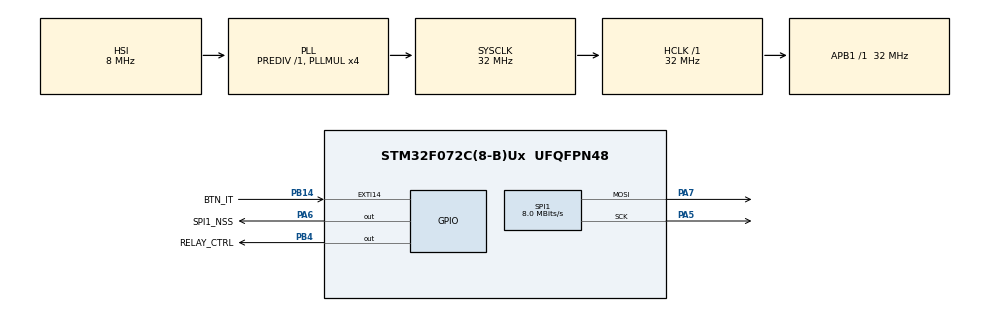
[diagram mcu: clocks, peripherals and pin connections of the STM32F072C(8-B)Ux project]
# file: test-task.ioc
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Mcu.Family=STM32F0
Mcu.Name=STM32F072C(8-B)Ux
Mcu.Package=UFQFPN48
NVIC.EXTI4_15_IRQn=true\:0\:0\:false\:false\:true\:true\:true\:true
NVIC.TIM6_DAC_IRQn=true\:0\:0\:false\:false\:true\:true\:true\:true
PA13.Mode=Serial_Wire
PA13.Signal=SYS_SWDIO
PA14.Mode=Serial_Wire
PA14.Signal=SYS_SWCLK
PA5.Mode=TX_Only_Simplex_Unidirect_Master
PA5.Signal=SPI1_SCK
PA6.GPIO_Label=SPI1_NSS
PA6.Signal=GPIO_Output
PA7.Mode=TX_Only_Simplex_Unidirect_Master
PA7.Signal=SPI1_MOSI
PB14.GPIO_Label=BTN_IT
PB14.GPIO_ModeDefaultEXTI=GPIO_MODE_IT_FALLING
PB14.GPIO_PuPd=GPIO_PULLUP
PB14.Signal=GPXTI14
PB4.GPIO_Label=RELAY_CTRL
PB4.Signal=GPIO_Output
PF0-OSC_IN.Mode=HSE-External-Oscillator
PF0-OSC_IN.Signal=RCC_OSC_IN
PF1-OSC_OUT.Mode=HSE-External-Oscillator
PF1-OSC_OUT.Signal=RCC_OSC_OUT
ProjectManager.HeapSize=0x200
ProjectManager.StackSize=0x400
ProjectManager.TargetToolchain=CMake
RCC.AHBFreq_Value=32000000
RCC.APB1Freq_Value=32000000
RCC.APB1TimFreq_Value=32000000
RCC.HCLKFreq_Value=32000000
RCC.PLLMUL=RCC_PLL_MUL4
RCC.SYSCLKFreq_VALUE=32000000
RCC.SYSCLKSource=RCC_SYSCLKSOURCE_PLLCLK
SPI1.BaudRatePrescaler=SPI_BAUDRATEPRESCALER_4
SPI1.CalculateBaudRate=8.0 MBits/s
SPI1.DataSize=SPI_DATASIZE_8BIT
SPI1.Direction=SPI_DIRECTION_2LINES
SPI1.Mode=SPI_MODE_MASTER
SPI1.VirtualType=VM_MASTER
TIM6.AutoReloadPreload=TIM_AUTORELOAD_PRELOAD_ENABLE
TIM6.Period=999
TIM6.Prescaler=31999
VP_TIM6_VS_ClockSourceINT.Mode=Enable_Timer
board=custom

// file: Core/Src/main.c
/* USER CODE BEGIN Header */
/**
 ******************************************************************************
 * @file           : main.c
 * @brief          : Main program body
 ******************************************************************************
 * @attention
 *
 * Copyright (c) 2025 STMicroelectronics.
 * All rights reserved.
 *
 * This software is licensed under terms that can be found in the LICENSE file
 * in the root directory of this software component.
 * If no LICENSE file comes with this software, it is provided AS-IS.
 *
 ******************************************************************************
 */
/* USER CODE END Header */
#include "main.h"

/* USER CODE BEGIN Includes */
#include "max_6950.h"
#include "stdbool.h"

/* USER CODE END Includes */

SPI_HandleTypeDef hspi1;

TIM_HandleTypeDef htim6;

/* USER CODE BEGIN PV */

uint8_t timer_count = 60;

bool display_update_required = false;
bool relay_activation_required = false;
bool is_timer_active = false;
bool is_relay_active = false;

/* USER CODE END PV */

void SystemClock_Config(void);
static void MX_GPIO_Init(void);
static void MX_SPI1_Init(void);
static void MX_TIM6_Init(void);
/* USER CODE BEGIN PFP */
void open_relay();
void close_relay();
void set_timer(uint8_t timer_value);
void update_display();
/* USER CODE END PFP */

int main(void) {

  /* MCU Configuration--------------------------------------------------------*/

  /* Reset of all peripherals, Initializes the Flash interface and the Systick.
   */
  HAL_Init();

  /* Configure the system clock */
  SystemClock_Config();

  /* Initialize all configured peripherals */
  MX_GPIO_Init();
  MX_SPI1_Init();
  MX_TIM6_Init();
  /* USER CODE BEGIN 2 */
  MAX6950_Init();
  bool relay_activation_required = true;

  /* USER CODE END 2 */
  uint32_t relay_start_time = 0;

  /* Infinite loop */
  /* USER CODE BEGIN WHILE */
  while (1) {

    if (relay_activation_required) {
      open_relay();
      is_relay_active = true;
      relay_start_time = HAL_GetTick();
      relay_activation_required = false;
    }

    if (is_relay_active) {
      if (HAL_GetTick() - relay_start_time >= RELAY_OPEN_TIME_MS) {
        close_relay();
        is_relay_active = false;
        set_timer(60);
      }
    }

    if (display_update_required) {
      update_display();
    }
  }
  /* USER CODE END 3 */
}

void SystemClock_Config(void) {
  RCC_OscInitTypeDef RCC_OscInitStruct = {0};
  RCC_ClkInitTypeDef RCC_ClkInitStruct = {0};

  /** Initializes the RCC Oscillators according to the specified parameters
   * in the RCC_OscInitTypeDef structure.
   */
  RCC_OscInitStruct.OscillatorType = RCC_OSCILLATORTYPE_HSI;
  RCC_OscInitStruct.HSIState = RCC_HSI_ON;
  RCC_OscInitStruct.HSICalibrationValue = RCC_HSICALIBRATION_DEFAULT;
  RCC_OscInitStruct.PLL.PLLState = RCC_PLL_ON;
  RCC_OscInitStruct.PLL.PLLSource = RCC_PLLSOURCE_HSI;
  RCC_OscInitStruct.PLL.PLLMUL = RCC_PLL_MUL4;
  RCC_OscInitStruct.PLL.PREDIV = RCC_PREDIV_DIV1;
  if (HAL_RCC_OscConfig(&RCC_OscInitStruct) != HAL_OK) {
    Error_Handler();
  }

  /** Initializes the CPU, AHB and APB buses clocks
   */
  RCC_ClkInitStruct.ClockType =
      RCC_CLOCKTYPE_HCLK | RCC_CLOCKTYPE_SYSCLK | RCC_CLOCKTYPE_PCLK1;
  RCC_ClkInitStruct.SYSCLKSource = RCC_SYSCLKSOURCE_PLLCLK;
  RCC_ClkInitStruct.AHBCLKDivider = RCC_SYSCLK_DIV1;
  RCC_ClkInitStruct.APB1CLKDivider = RCC_HCLK_DIV1;

  if (HAL_RCC_ClockConfig(&RCC_ClkInitStruct, FLASH_LATENCY_1) != HAL_OK) {
    Error_Handler();
  }
}

static void MX_SPI1_Init(void) {

  /* SPI1 parameter configuration*/
  hspi1.Instance = SPI1;
  hspi1.Init.Mode = SPI_MODE_MASTER;
  hspi1.Init.Direction = SPI_DIRECTION_2LINES;
  hspi1.Init.DataSize = SPI_DATASIZE_8BIT;
  hspi1.Init.CLKPolarity = SPI_POLARITY_LOW;
  hspi1.Init.CLKPhase = SPI_PHASE_1EDGE;
  hspi1.Init.NSS = SPI_NSS_SOFT;
  hspi1.Init.BaudRatePrescaler = SPI_BAUDRATEPRESCALER_4;
  hspi1.Init.FirstBit = SPI_FIRSTBIT_MSB;
  hspi1.Init.TIMode = SPI_TIMODE_DISABLE;
  hspi1.Init.CRCCalculation = SPI_CRCCALCULATION_DISABLE;
  hspi1.Init.CRCPolynomial = 7;
  hspi1.Init.CRCLength = SPI_CRC_LENGTH_DATASIZE;
  hspi1.Init.NSSPMode = SPI_NSS_PULSE_ENABLE;
  if (HAL_SPI_Init(&hspi1) != HAL_OK) {
    Error_Handler();
  }
}

static void MX_TIM6_Init(void) {

  TIM_MasterConfigTypeDef sMasterConfig = {0};

  htim6.Instance = TIM6;
  htim6.Init.Prescaler = 31999;
  htim6.Init.CounterMode = TIM_COUNTERMODE_UP;
  htim6.Init.Period = 999;
  htim6.Init.AutoReloadPreload = TIM_AUTORELOAD_PRELOAD_ENABLE;
  if (HAL_TIM_Base_Init(&htim6) != HAL_OK) {
    Error_Handler();
  }
  sMasterConfig.MasterOutputTrigger = TIM_TRGO_RESET;
  sMasterConfig.MasterSlaveMode = TIM_MASTERSLAVEMODE_DISABLE;
  if (HAL_TIMEx_MasterConfigSynchronization(&htim6, &sMasterConfig) != HAL_OK) {
    Error_Handler();
  }
}

static void MX_GPIO_Init(void) {
  GPIO_InitTypeDef GPIO_InitStruct = {0};

  /* GPIO Ports Clock Enable */
  __HAL_RCC_GPIOF_CLK_ENABLE();
  __HAL_RCC_GPIOA_CLK_ENABLE();
  __HAL_RCC_GPIOB_CLK_ENABLE();

  /*Configure GPIO pin Output Level */
  HAL_GPIO_WritePin(SPI1_NSS_GPIO_Port, SPI1_NSS_Pin, GPIO_PIN_RESET);

  /*Configure GPIO pin Output Level */
  HAL_GPIO_WritePin(RELAY_CTRL_GPIO_Port, RELAY_CTRL_Pin, GPIO_PIN_RESET);

  /*Configure GPIO pin : SPI1_NSS_Pin */
  GPIO_InitStruct.Pin = SPI1_NSS_Pin;
  GPIO_InitStruct.Mode = GPIO_MODE_OUTPUT_PP;
  GPIO_InitStruct.Pull = GPIO_NOPULL;
  GPIO_InitStruct.Speed = GPIO_SPEED_FREQ_LOW;
  HAL_GPIO_Init(SPI1_NSS_GPIO_Port, &GPIO_InitStruct);

  /*Configure GPIO pin : BTN_IT_Pin */
  GPIO_InitStruct.Pin = BTN_IT_Pin;
  GPIO_InitStruct.Mode = GPIO_MODE_IT_FALLING;
  GPIO_InitStruct.Pull = GPIO_PULLUP;
  HAL_GPIO_Init(BTN_IT_GPIO_Port, &GPIO_InitStruct);

  /*Configure GPIO pin : RELAY_CTRL_Pin */
  GPIO_InitStruct.Pin = RELAY_CTRL_Pin;
  GPIO_InitStruct.Mode = GPIO_MODE_OUTPUT_PP;
  GPIO_InitStruct.Pull = GPIO_NOPULL;
  GPIO_InitStruct.Speed = GPIO_SPEED_FREQ_LOW;
  HAL_GPIO_Init(RELAY_CTRL_GPIO_Port, &GPIO_InitStruct);

  /* EXTI interrupt init*/
  HAL_NVIC_SetPriority(EXTI4_15_IRQn, 0, 0);
  HAL_NVIC_EnableIRQ(EXTI4_15_IRQn);

}

/* USER CODE BEGIN 4 */

void open_relay() {
  HAL_GPIO_WritePin(RELAY_CTRL_GPIO_Port, RELAY_CTRL_Pin, GPIO_PIN_SET);
}

void close_relay() {
  HAL_GPIO_WritePin(RELAY_CTRL_GPIO_Port, RELAY_CTRL_Pin, GPIO_PIN_RESET);
}

void set_timer(uint8_t timer_value) {
  timer_count = timer_value;
  display_update_required = true;
}

void update_display() {
  MAX6950_UpdateDisplay(timer_count);
  display_update_required = false;
}

void HAL_GPIO_EXTI_Callback(uint16_t GPIO_Pin) {
  if (GPIO_Pin == BTN_IT_Pin) {

    if (is_relay_active)
      return;

    if (!is_timer_active) {
      HAL_TIM_Base_Start_IT(&htim6);
      is_timer_active = true;
    } else {
      HAL_TIM_Base_Stop_IT(&htim6);
      set_timer(60);
      is_timer_active = false;
    }
  }
}

void HAL_TIM_PeriodElapsedCallback(TIM_HandleTypeDef *htim) {
  if (htim->Instance == htim6.Instance) {
    if (timer_count == 0 && !is_relay_active) {
      relay_activation_required = true;
      HAL_TIM_Base_Stop_IT(&htim6);
      is_timer_active = false;
    } else {
      set_timer(timer_count - 1);
    }
  }
}
/* USER CODE END 4 */

void Error_Handler(void) {
  __disable_irq();
  while (1) {
  }
}

#ifdef USE_FULL_ASSERT
/**
 * @brief  Reports the name of the source file and the source line number
 *         where the assert_param error has occurred.
 * @param  file: pointer to the source file name
 * @param  line: assert_param error line source number
 * @retval None
 */
void assert_failed(uint8_t *file, uint32_t line) {
  /* USER CODE BEGIN 6 */
  /* User can add his own implementation to report the file name and line
     number, ex: printf("Wrong parameters value: file %s on line %d\r\n", file,
     line) */
  /* USER CODE END 6 */
}
#endif /* USE_FULL_ASSERT */
